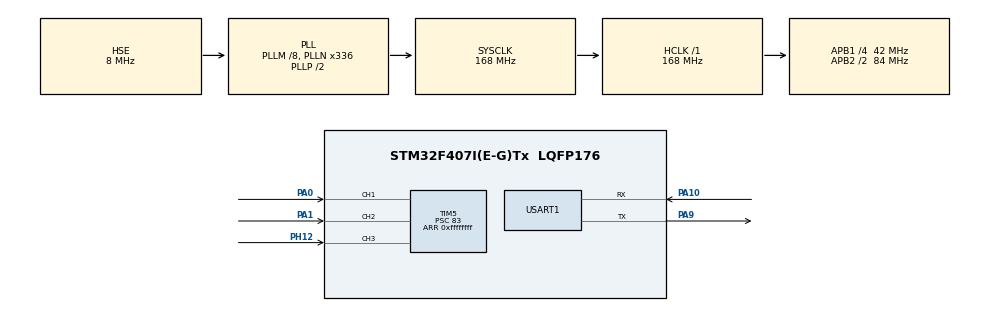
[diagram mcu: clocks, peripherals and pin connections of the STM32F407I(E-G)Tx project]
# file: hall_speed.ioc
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Mcu.Family=STM32F4
Mcu.Name=STM32F407I(E-G)Tx
Mcu.Package=LQFP176
NVIC.PriorityGroup=NVIC_PRIORITYGROUP_4
NVIC.TIM5_IRQn=true\:0\:0\:false\:false\:true\:true\:true\:true
PA0-WKUP.Signal=S_TIM5_CH1
PA1.Signal=S_TIM5_CH2
PA10.Mode=Asynchronous
PA10.Signal=USART1_RX
PA13.Mode=Serial_Wire
PA13.Signal=SYS_JTMS-SWDIO
PA14.Mode=Serial_Wire
PA14.Signal=SYS_JTCK-SWCLK
PA9.Mode=Asynchronous
PA9.Signal=USART1_TX
PH0-OSC_IN.Mode=HSE-External-Oscillator
PH0-OSC_IN.Signal=RCC_OSC_IN
PH1-OSC_OUT.Mode=HSE-External-Oscillator
PH1-OSC_OUT.Signal=RCC_OSC_OUT
PH12.Signal=S_TIM5_CH3
ProjectManager.HeapSize=0x200
ProjectManager.StackSize=0x400
ProjectManager.TargetToolchain=STM32CubeIDE
RCC.48MHZClocksFreq_Value=84000000
RCC.AHBFreq_Value=168000000
RCC.APB1CLKDivider=RCC_HCLK_DIV4
RCC.APB1Freq_Value=42000000
RCC.APB1TimFreq_Value=84000000
RCC.APB2CLKDivider=RCC_HCLK_DIV2
RCC.APB2Freq_Value=84000000
RCC.APB2TimFreq_Value=168000000
RCC.CortexFreq_Value=168000000
RCC.HCLKFreq_Value=168000000
RCC.HSE_VALUE=8000000
RCC.HSI_VALUE=16000000
RCC.LSE_VALUE=32768
RCC.PLLM=8
RCC.PLLN=336
RCC.PLLSourceVirtual=RCC_PLLSOURCE_HSE
RCC.SYSCLKFreq_VALUE=168000000
RCC.SYSCLKSource=RCC_SYSCLKSOURCE_PLLCLK
RCC.VCOOutputFreq_Value=336000000
SH.S_TIM5_CH1.0=TIM5_CH1,Xored_Inputs_Hall_Sensor_Interface
SH.S_TIM5_CH2.0=TIM5_CH2,Xored_Inputs_Hall_Sensor_Interface
SH.S_TIM5_CH3.0=TIM5_CH3,Xored_Inputs_Hall_Sensor_Interface
TIM5.Period=0xffffffff
TIM5.Prescaler=83
USART1.VirtualMode=VM_ASYNC
board=custom

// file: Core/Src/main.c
/* USER CODE BEGIN Header */
/**
  ******************************************************************************
  * @file           : main.c
  * @brief          : Main program body
  ******************************************************************************
  * @attention
  *
  * Copyright (c) 2023 STMicroelectronics.
  * All rights reserved.
  *
  * This software is licensed under terms that can be found in the LICENSE file
  * in the root directory of this software component.
  * If no LICENSE file comes with this software, it is provided AS-IS.
  *
  ******************************************************************************
  */
/* USER CODE END Header */
#include "main.h"
#include "tim.h"
#include "usart.h"
#include "gpio.h"

/* USER CODE BEGIN Includes */

#include "retarget.h"
#include "bsp_bldc.h"
#include "bsp_hall.h"
#include "math.h"

/* USER CODE END Includes */

/* USER CODE BEGIN PTD */
#define TIMECNT   800

/* USER CODE END PTD */

/* USER CODE BEGIN PD */

float MotorSpeed  = 0.0f ;// 电机转速,这里是占空比,

_Bool isTimeUp    = 0;     // 计时标记
uint32_t timeTick = 0;   // 计时标记
extern MotorSta_Typedef Motor_State; // 电机使能状态
extern MotorDir_Typedef Motor_Dir;  // 电机方向 ,顺时针
extern float PWM_Duty;        // 25%占空比

extern MotorDir_Typedef RT_hallDir; // 霍尔顺序得到的电机转动方向
/* USER CODE END PD */

void SystemClock_Config(void);

int main(void)
{
  /* USER CODE BEGIN 1 */
    float Speed_hz  = 0 ;
  /* USER CODE END 1 */

  /* MCU Configuration--------------------------------------------------------*/

  /* Reset of all peripherals, Initializes the Flash interface and the Systick. */
  HAL_Init();

  /* Configure the system clock */
  SystemClock_Config();

  /* Initialize all configured peripherals */
  MX_GPIO_Init();
  MX_TIM5_Init();
  MX_USART1_UART_Init();
  /* USER CODE BEGIN 2 */
  RetargetInit(&huart1);
  printf("\r\nhall speed process start \n");
  printf(" <- 直流无刷电机基础驱动_HALL传感器测速 -> \n");
  printf(" <- 定时器的霍尔传感器接口功能,在CH1的比较器里面保存有两次边沿之间的\n");
  printf("计数值,根据这些计数值就可以测量出电机转速 -> \n");
  printf("正负代表方向 -> \n");
  timeTick = TIMECNT;
//    MotorSpeed = 0.15f;
//    BLDCMotor_SetSpeed(MotorSpeed);
//    BLDCMotor_Start();
//    printf("按键KEY1启动电机\n");
    /* USER CODE END 2 */

  /* Infinite loop */
  /* USER CODE BEGIN WHILE */
  while (1)
  {
      if( isTimeUp )
      {
          uint32_t tmpCC = 0;
          if(RT_hallcnt == 0) // 避免除数为0
          {
              Speed_hz = 0;
          }
          else
          {
              tmpCC = RT_hallcomp / RT_hallcnt; // tmpCC:两次捕获之间的捕获值,
              Speed_hz = (float)HALL_TIM_FREQ/(float)(tmpCC);
          }
          RT_hallcomp = 0;
          RT_hallcnt  = 0;
          /* 霍尔信号的频率,转速rps,转速rpm */
          if(RT_hallDir == MOTOR_DIR_CW)
              Speed_hz = fabs(Speed_hz);
          else
              Speed_hz = -fabs(Speed_hz);
          /* 未做任何滤波的速度值 */
          printf("%.3f Hz, %.2f RPS, %.2fRPM\n", Speed_hz, Speed_hz/PPR, (Speed_hz/PPR)*60);

          isTimeUp = 0;
          timeTick = TIMECNT;
      }

      /* USER CODE END WHILE */

  }
}

void SystemClock_Config(void)
{
    RCC_OscInitTypeDef RCC_OscInitStruct = {0};
    RCC_ClkInitTypeDef RCC_ClkInitStruct = {0};
    __HAL_RCC_PWR_CLK_ENABLE();                                     // 使能PWR时钟
    __HAL_PWR_VOLTAGESCALING_CONFIG(PWR_REGULATOR_VOLTAGE_SCALE1);  // 设置调压器输出电压级别1
    RCC_OscInitStruct.OscillatorType = RCC_OSCILLATORTYPE_HSE;      // 外部晶振，8MHz
    RCC_OscInitStruct.HSEState       = RCC_HSE_ON;                  // 打开HSE
    RCC_OscInitStruct.PLL.PLLState   = RCC_PLL_ON;                  // 打开PLL
    RCC_OscInitStruct.PLL.PLLSource  = RCC_PLLSOURCE_HSE;           // PLL时钟源选择HSE
    RCC_OscInitStruct.PLL.PLLM = 8;                                 // 8分频MHz
    RCC_OscInitStruct.PLL.PLLN = 336;                               // 336倍频
    RCC_OscInitStruct.PLL.PLLP = RCC_PLLP_DIV2;                     // 2分频，得到168MHz主时钟
    RCC_OscInitStruct.PLL.PLLQ = 7;                                 // USB/SDIO/随机数产生器等的主PLL分频系数
    HAL_RCC_OscConfig(&RCC_OscInitStruct);
    RCC_ClkInitStruct.ClockType = RCC_CLOCKTYPE_HCLK | RCC_CLOCKTYPE_SYSCLK
                                  | RCC_CLOCKTYPE_PCLK1 | RCC_CLOCKTYPE_PCLK2;
    RCC_ClkInitStruct.SYSCLKSource   = RCC_SYSCLKSOURCE_PLLCLK;     // 系统时钟：168MHz
    RCC_ClkInitStruct.AHBCLKDivider  = RCC_SYSCLK_DIV1;             // AHB时钟： 168MHz
    RCC_ClkInitStruct.APB1CLKDivider = RCC_HCLK_DIV4;               // APB1时钟：42MHz
    RCC_ClkInitStruct.APB2CLKDivider = RCC_HCLK_DIV2;               // APB2时钟：84MHz
    HAL_RCC_ClockConfig(&RCC_ClkInitStruct, FLASH_LATENCY_5);
    HAL_RCC_EnableCSS();                                            // 使能CSS功能，优先使用外部晶振，内部时钟源为备用
    // HAL_RCC_GetHCLKFreq()/1000    1ms中断一次
    // HAL_RCC_GetHCLKFreq()/100000	 10us中断一次
    // HAL_RCC_GetHCLKFreq()/1000000 1us中断一次
    HAL_SYSTICK_Config(HAL_RCC_GetHCLKFreq() / 1000);               // 配置并启动系统滴答定时器
    /* 系统滴答定时器时钟源 */
    HAL_SYSTICK_CLKSourceConfig(SYSTICK_CLKSOURCE_HCLK);
    /* 系统滴答定时器中断优先级配置 */
    HAL_NVIC_SetPriority(SysTick_IRQn, 0, 0);

}

/* USER CODE BEGIN 4 */
void HAL_SYSTICK_Callback()
{
    if(timeTick != 0)
        timeTick--;
    if(timeTick == 0)
    {
        isTimeUp = 1;
    }

}
/* USER CODE END 4 */

void Error_Handler(void)
{
  __disable_irq();
  while (1)
  {
  }
}
